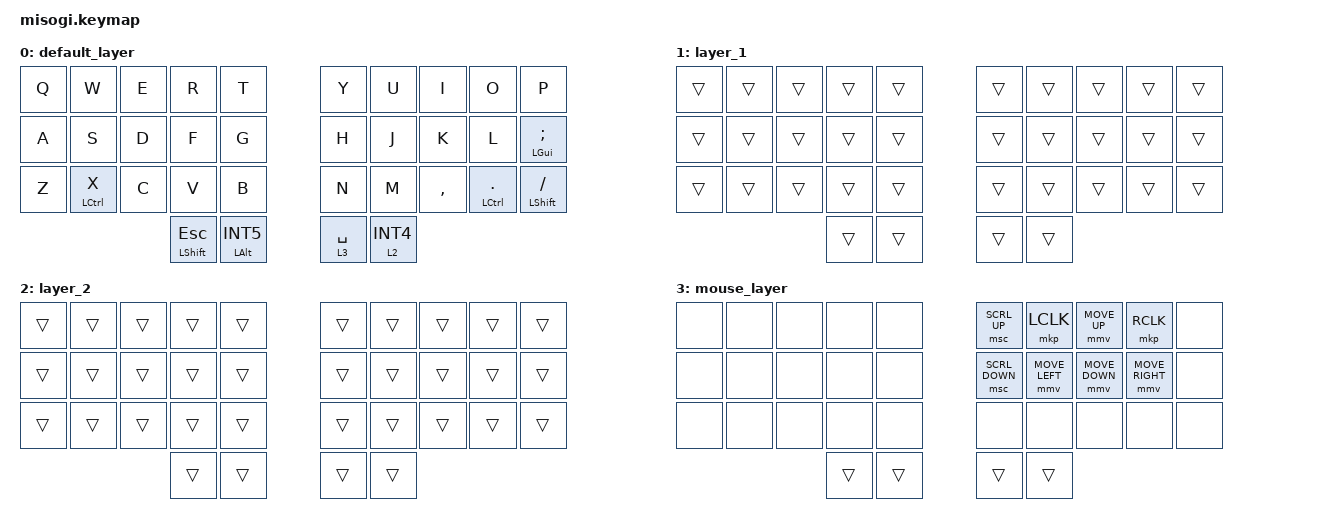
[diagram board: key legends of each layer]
// This file was generated from a template. Edit it to match your keyboard.
// See https://zmk.dev/docs/development/hardware-integration/new-shield for more instructions.

#include <behaviors.dtsi>
#include <dt-bindings/zmk/keys.h>
#include <dt-bindings/zmk/bt.h>
#include <dt-bindings/zmk/mouse.h>
#include <dt-bindings/zmk/outputs.h>

/* For mouse, just in case they are missing in the headers */
#define ZMK_MOUSE_DEFAULT_MOVE_VAL 600
#define ZMK_MOUSE_DEFAULT_SCRL_VAL 10

/ {
    keymap {
        compatible = "zmk,keymap";

        default_layer {
            bindings = <
    &kp Q      &kp W      &kp E       &kp R       &kp T          &kp Y       &kp U       &kp I       &kp O       &kp P
    &kp A      &kp S      &kp D       &kp F       &kp G          &kp H       &kp J       &kp K       &kp L       &mt LGUI SEMI
    &kp Z      &mt LCTRL X &kp C      &kp V       &kp B          &kp N       &kp M       &kp COMMA   &mt LCTRL DOT &mt LSHIFT SLASH
                          &mt LSHIFT ESC &mt LALT INT5         &lt 3 SPACE &lt 2 INT4 
            >;
        };

        layer_1 {
            bindings = <
    &trans     &trans     &trans      &trans      &trans         &trans      &trans      &trans      &trans      &trans
    &trans     &trans     &trans      &trans      &trans         &trans      &trans      &trans      &trans      &trans
    &trans     &trans     &trans      &trans      &trans         &trans      &trans      &trans      &trans      &trans
                          &trans      &trans                     &trans      &trans
            >;
        };

        layer_2 {
            bindings = <
    &trans     &trans     &trans      &trans      &trans         &trans      &trans      &trans      &trans      &trans
    &trans     &trans     &trans      &trans      &trans         &trans      &trans      &trans      &trans      &trans
    &trans     &trans     &trans      &trans      &trans         &trans      &trans      &trans      &trans      &trans
                          &trans      &trans                     &trans      &trans
            >;
        };

        mouse_layer {
            bindings = <
    &none      &none      &none       &none       &none          &msc SCRL_UP  &mkp LCLK     &mmv MOVE_UP    &mkp RCLK     &none
    &none      &none      &none       &none       &none          &msc SCRL_DOWN &mmv MOVE_LEFT &mmv MOVE_DOWN  &mmv MOVE_RIGHT &none
    &none      &none      &none       &none       &none          &none         &none         &none           &none         &none
                          &trans      &trans                     &trans        &trans
            >;
        };
    };
};
